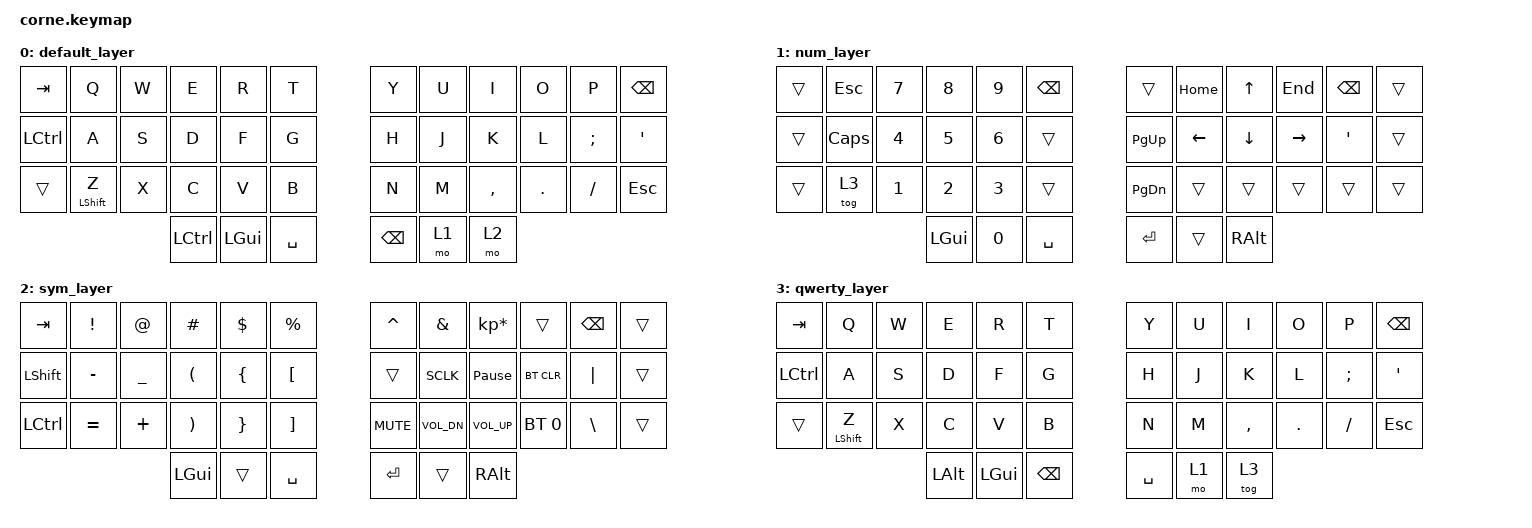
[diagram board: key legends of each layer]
/*
 * Copyright (c) 2020 The ZMK Contributors
 *
 * SPDX-License-Identifier: MIT
 */

#include <behaviors.dtsi>
#include <dt-bindings/zmk/keys.h>
#include <dt-bindings/zmk/bt.h>
#define BASE 0
#define NUMBER 1 
#define SYMBOL 2 
#define QWERTY 3

&mt {
    tapping-term-ms = <100>;
};
/{
    macros {
        zed_em_kay: zed_em_kay {
            label = "ZM_zed_em_kay";
            compatible = "zmk,behavior-macro";
            #binding-cells = <0>;
        wait-ms = <30>;
        tap-ms = <40>;
                   bindings
                = <&macro_press &kp LCTRL>
                , <&macro_tap &kp Z>
                , <&macro_release &kp LCTRL>
                ;
        };
    };
};
/{
        combos {
        compatible = "zmk,combos";
        combo_esc {
            timeout-ms = <50>;
            key-positions = <1 2>;
            bindings = <&kp ESC>;
        };
        combo_tab {
                timeout-ms = <50>;
                key-positions = <2 3>;
                bindings = <&kp TAB>;
        };
      
        combo_ret {
                timeout-ms = <30>;
                key-positions = <21 22>;
                bindings = <&kp RET>;
        };
         combo_bac {
                timeout-ms = <50>;
                key-positions = <9 10>;
                bindings = <&kp BSPC>;
        };
        combo_undo {
        timeout-ms = <20>;
        key-positions = <26 27>;
        bindings = <&zed_em_kay>;
  
       };
   };
    


                                      
       keymap {
                compatible = "zmk,keymap";
//Base alpha Layer 
                default_layer {
                        bindings = < 
   &kp TAB   &kp Q     &kp W &kp E &kp R &kp T   &kp Y &kp U  &kp I     &kp O   &kp P    &kp BSPC
   &kp LCTRL &kp A     &kp S &kp D &kp F &kp G   &kp H &kp J  &kp K     &kp L   &kp SEMI &kp SQT
   &trans &mt LSHIFT Z &kp X &kp C &kp V &kp B   &kp N &kp M  &kp COMMA &kp DOT &kp FSLH &kp ESC
                  &kp LCTRL &kp LGUI &kp SPACE   &kp BSPC &mo 1 &mo 2
                        >;
                };
//Number and navigation                 
                num_layer {
                        bindings = <
   &trans  &kp ESC  &kp N7 &kp N8 &kp N9 &kp BSPC       &trans        &kp HOME &kp UP   &kp END   &kp BSPC &trans   
   &trans  &kp CAPS &kp N4 &kp N5 &kp N6 &trans         &kp PAGE_UP   &kp LEFT &kp DOWN &kp RIGHT &kp SQT   &trans 
   &trans  &tog 3  &kp N1 &kp N2 &kp N3 &trans         &kp PAGE_DOWN &trans   &trans   &trans    &trans   &trans 
        &kp LGUI     &kp N0       &kp SPACE              &kp RET  &trans   &kp RALT
                        >;
                };

//Symbol layer
                sym_layer {
                        bindings = <
   &kp  TAB  &kp EXCL  &kp AT    &kp HASH   &kp DLLR   &kp PRCNT     &kp CARET  &kp AMPS     &kp KP_MULTIPLY &trans &kp BSPC &trans
   &kp LSHFT &kp MINUS &kp UNDER &kp LPAR   &kp LBRC   &kp LBKT      &trans     &kp SCLK     &kp PAUSE_BREAK &bt BT_CLR &kp PIPE &trans
   &kp LCTRL &kp EQUAL &kp PLUS  &kp RPAR   &kp RBRC   &kp RBKT      &kp C_MUTE &kp C_VOL_DN &kp C_VOL_UP    &bt BT_SEL 0 &kp BSLH &trans
                    	     &kp LGUI &trans   &kp SPACE   &kp RET   &trans    &kp RALT
                        >;
                };
//QWERTY layer
                qwerty_layer {
                        bindings = <
   &kp TAB   &kp Q     &kp W &kp E &kp R &kp T   &kp Y &kp U  &kp I     &kp O   &kp P    &kp BSPC
   &kp LCTRL &kp A     &kp S &kp D &kp F &kp G   &kp H &kp J  &kp K     &kp L   &kp SEMI &kp SQT
   &trans &mt LSHIFT Z &kp X &kp C &kp V &kp B   &kp N &kp M  &kp COMMA &kp DOT &kp FSLH &kp ESC
                  &kp LALT &kp LGUI &kp BSPC   &kp SPACE &mo 1 &tog 3
                   >;
        };
    };
};
